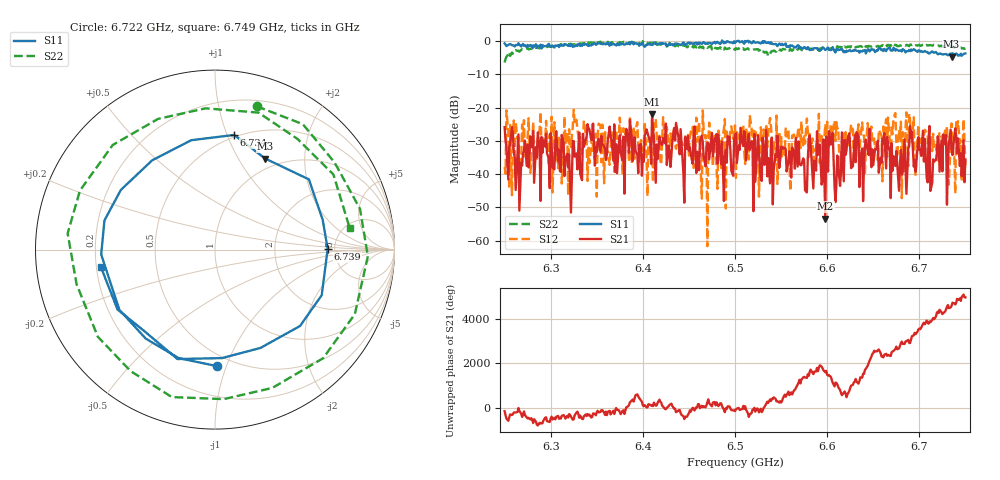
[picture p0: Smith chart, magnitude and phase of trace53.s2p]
# Hz S RI R 50
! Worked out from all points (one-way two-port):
!   401 points, 6.25 GHz to 6.75 GHz, reference 50 ohm
!   highest |S21| = -21.90 dB at 6.41 GHz (marker M1); lowest = -53.3 dB at 6.598 GHz (marker M2)
!   lowest |S11| = -4.7 dB at 6.735 GHz (marker M3), VSWR 3.75, Z = 42.8 + j65.3 ohm
!   |S11| at or under -10 dB: nowhere
!   |S22| runs from -6.4 to -0.1 dB; largest |S21 - S12| = 0.11
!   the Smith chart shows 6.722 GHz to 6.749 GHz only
!   S11 on the Smith chart (normalised r, x): 6.722 GHz: 0.41, -0.93; 6.734 GHz: 0.48, +1.06; 6.739 GHz: 4.37, +0.06; 6.749 GHz: 0.22, -0.07
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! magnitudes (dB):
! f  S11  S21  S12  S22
! 6.25 GHz  -0.7  -25.9  -37.9  -6.4
! 6.265 GHz  -0.7  -28.0  -28.9  -2.9
! 6.279 GHz  -1.4  -31.8  -29.7  -2.3
! 6.32 GHz  -1.2  -34.1  -26.5  -0.9
! 6.334 GHz  -1.4  -41.8  -34.0  -0.9
! 6.41 GHz  -1.2  -21.9  -33.7  -0.5
! 6.418 GHz  -0.8  -28.8  -28.4  -0.9
! 6.5 GHz  -0.6  -28.7  -25.3  -2.7
! 6.584 GHz  -2.6  -39.8  -29.2  -2.3
! 6.598 GHz  -2.7  -53.3  -24.9  -2.2
! 6.604 GHz  -2.7  -31.1  -24.9  -2.2
! 6.61 GHz  -2.5  -43.3  -24.4  -2.2
! 6.621 GHz  -2.9  -32.9  -30.4  -2.0
! 6.638 GHz  -3.2  -32.3  -24.5  -1.7
! 6.644 GHz  -2.5  -33.2  -24.7  -1.8
! 6.668 GHz  -1.9  -33.3  -30.0  -1.5
! 6.722 GHz  -3.7  -39.2  -27.4  -1.6
! 6.734 GHz  -3.8  -26.6  -30.8  -1.3
! 6.735 GHz  -4.7  -32.5  -24.8  -1.7
! 6.739 GHz  -4.0  -26.3  -45.8  -1.7
! 6.749 GHz  -3.8  -42.4  -29.9  -2.4
! 6.75 GHz  -3.7  -35.7  -37.4  -2.3
